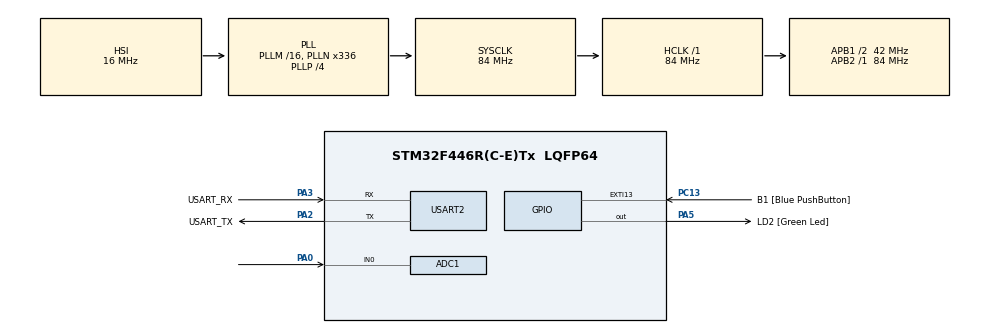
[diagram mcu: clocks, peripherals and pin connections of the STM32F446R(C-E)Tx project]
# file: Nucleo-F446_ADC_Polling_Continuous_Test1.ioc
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ADC1.Channel-0\#ChannelRegularConversion=ADC_CHANNEL_0
ADC1.ContinuousConvMode=ENABLE
ADC1.EOCSelection=ADC_EOC_SEQ_CONV
ADC1.NbrOfConversionFlag=1
ADC1.Rank-0\#ChannelRegularConversion=1
ADC1.SamplingTime-0\#ChannelRegularConversion=ADC_SAMPLETIME_3CYCLES
ADC1.master=1
Mcu.Family=STM32F4
Mcu.Name=STM32F446R(C-E)Tx
Mcu.Package=LQFP64
NVIC.PriorityGroup=NVIC_PRIORITYGROUP_0
PA0-WKUP.Signal=ADCx_IN0
PA13.GPIO_Label=TMS
PA13.Mode=Serial_Wire
PA13.Signal=SYS_JTMS-SWDIO
PA14.GPIO_Label=TCK
PA14.Mode=Serial_Wire
PA14.Signal=SYS_JTCK-SWCLK
PA2.GPIO_Label=USART_TX
PA2.Mode=Asynchronous
PA2.Signal=USART2_TX
PA3.GPIO_Label=USART_RX
PA3.Mode=Asynchronous
PA3.Signal=USART2_RX
PA5.GPIO_Label=LD2 [Green Led]
PA5.Signal=GPIO_Output
PB3.GPIO_Label=SWO
PB3.Signal=SYS_JTDO-SWO
PC13.GPIO_Label=B1 [Blue PushButton]
PC13.GPIO_ModeDefaultEXTI=GPIO_MODE_IT_FALLING
PC13.Signal=GPXTI13
PC14-OSC32_IN.Mode=LSE-External-Oscillator
PC14-OSC32_IN.Signal=RCC_OSC32_IN
PC15-OSC32_OUT.Mode=LSE-External-Oscillator
PC15-OSC32_OUT.Signal=RCC_OSC32_OUT
PH0-OSC_IN.Mode=HSE-External-Oscillator
PH0-OSC_IN.Signal=RCC_OSC_IN
PH1-OSC_OUT.Mode=HSE-External-Oscillator
PH1-OSC_OUT.Signal=RCC_OSC_OUT
ProjectManager.HeapSize=0x200
ProjectManager.StackSize=0x400
ProjectManager.TargetToolchain=SW4STM32
RCC.48MHZClocksFreq_Value=84000000
RCC.AHBFreq_Value=84000000
RCC.APB1CLKDivider=RCC_HCLK_DIV2
RCC.APB1Freq_Value=42000000
RCC.APB1TimFreq_Value=84000000
RCC.APB2Freq_Value=84000000
RCC.APB2TimFreq_Value=84000000
RCC.CortexFreq_Value=84000000
RCC.FLatency-AdvancedSettings=FLASH_LATENCY_2
RCC.HCLKFreq_Value=84000000
RCC.HSE_VALUE=8000000
RCC.HSI_VALUE=16000000
RCC.PLLN=336
RCC.PLLP=RCC_PLLP_DIV4
RCC.SYSCLKFreq_VALUE=84000000
RCC.SYSCLKSource=RCC_SYSCLKSOURCE_PLLCLK
RCC.USBFreq_Value=168000000
RCC.VCOOutputFreq_Value=336000000
SH.ADCx_IN0.0=ADC1_IN0,IN0
USART2.VirtualMode=VM_ASYNC
board=NUCLEO-F446RE

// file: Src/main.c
/* USER CODE BEGIN Header */
/**
  ******************************************************************************
  * @file           : main.c
  * @brief          : Main program body
  ******************************************************************************
  * @attention
  *
  * <h2><center>&copy; Copyright (c) 2019 STMicroelectronics.
  * All rights reserved.</center></h2>
  *
  * This software component is licensed by ST under BSD 3-Clause license,
  * the "License"; You may not use this file except in compliance with the
  * License. You may obtain a copy of the License at:
  *                        opensource.org/licenses/BSD-3-Clause
  *
  ******************************************************************************
  */
/* USER CODE END Header */

#include "main.h"

/* USER CODE BEGIN Includes */
#include <stdio.h>
/* USER CODE END Includes */

ADC_HandleTypeDef hadc1;

UART_HandleTypeDef huart2;

/* USER CODE BEGIN PV */
volatile uint16_t uhADCxConvertedValue = 0;
/* USER CODE END PV */

void SystemClock_Config(void);
static void MX_GPIO_Init(void);
static void MX_ADC1_Init(void);
static void MX_USART2_UART_Init(void);

/* USER CODE BEGIN 0 */
#ifdef __GNUC__
#define PUTCHAR_PROTOTYPE int __io_putchar(int ch)
#else
#define PUTCHAR_PROTOTYPE int fputc(int ch, FILE *f)
#endif
PUTCHAR_PROTOTYPE
{
 HAL_UART_Transmit(&huart2, (uint8_t *)&ch, 1, 0xFFFF);
 return ch;
}
/* USER CODE END 0 */

int main(void)
{

  /* MCU Configuration--------------------------------------------------------*/

  /* Reset of all peripherals, Initializes the Flash interface and the Systick. */
  HAL_Init();

  /* Configure the system clock */
  SystemClock_Config();

  /* Initialize all configured peripherals */
  MX_GPIO_Init();
  MX_ADC1_Init();
  MX_USART2_UART_Init();
  /* USER CODE BEGIN 2 */
  /*##-3- Start the conversion process #######################################*/
  if (HAL_ADC_Start(&hadc1) != HAL_OK)
  {
    /* Start Conversation Error */
    Error_Handler();
  }
  /* USER CODE END 2 */

  /* Infinite loop */
  while (1)
  {

    /* USER CODE BEGIN 3 */
	  /*##-4- Wait for the end of conversion #####################################*/
	  /*  Before starting a new conversion, you need to check the current state of
	       the peripheral; if itТs busy you need to wait for the end of current
	       conversion before starting a new one.
	       For simplicity reasons, this example is just waiting till the end of the
	       conversion, but application may perform other tasks while conversion
	       operation is ongoing. */
	  if (HAL_ADC_PollForConversion(&hadc1, 10) != HAL_OK)
	  {
	    /* End Of Conversion flag not set on time */
	    Error_Handler();
	  }

	/* Check if the continuous conversion of regular channel is finished */
	  if ((HAL_ADC_GetState(&hadc1) & HAL_ADC_STATE_EOC_REG) == HAL_ADC_STATE_EOC_REG)
	  {
	    /*##-5- Get the converted value of regular channel  ########################*/
	    uhADCxConvertedValue = HAL_ADC_GetValue(&hadc1);
	  }
	  printf("ADC Value: %d\r\n", uhADCxConvertedValue);
	  HAL_Delay(100);
  }
  /* USER CODE END 3 */
}

void SystemClock_Config(void)
{
  RCC_OscInitTypeDef RCC_OscInitStruct = {0};
  RCC_ClkInitTypeDef RCC_ClkInitStruct = {0};

  /** Configure the main internal regulator output voltage
  */
  __HAL_RCC_PWR_CLK_ENABLE();
  __HAL_PWR_VOLTAGESCALING_CONFIG(PWR_REGULATOR_VOLTAGE_SCALE3);
  /** Initializes the CPU, AHB and APB busses clocks
  */
  RCC_OscInitStruct.OscillatorType = RCC_OSCILLATORTYPE_HSI;
  RCC_OscInitStruct.HSIState = RCC_HSI_ON;
  RCC_OscInitStruct.HSICalibrationValue = RCC_HSICALIBRATION_DEFAULT;
  RCC_OscInitStruct.PLL.PLLState = RCC_PLL_ON;
  RCC_OscInitStruct.PLL.PLLSource = RCC_PLLSOURCE_HSI;
  RCC_OscInitStruct.PLL.PLLM = 16;
  RCC_OscInitStruct.PLL.PLLN = 336;
  RCC_OscInitStruct.PLL.PLLP = RCC_PLLP_DIV4;
  RCC_OscInitStruct.PLL.PLLQ = 2;
  RCC_OscInitStruct.PLL.PLLR = 2;
  if (HAL_RCC_OscConfig(&RCC_OscInitStruct) != HAL_OK)
  {
    Error_Handler();
  }
  /** Initializes the CPU, AHB and APB busses clocks
  */
  RCC_ClkInitStruct.ClockType = RCC_CLOCKTYPE_HCLK|RCC_CLOCKTYPE_SYSCLK
                              |RCC_CLOCKTYPE_PCLK1|RCC_CLOCKTYPE_PCLK2;
  RCC_ClkInitStruct.SYSCLKSource = RCC_SYSCLKSOURCE_PLLCLK;
  RCC_ClkInitStruct.AHBCLKDivider = RCC_SYSCLK_DIV1;
  RCC_ClkInitStruct.APB1CLKDivider = RCC_HCLK_DIV2;
  RCC_ClkInitStruct.APB2CLKDivider = RCC_HCLK_DIV1;

  if (HAL_RCC_ClockConfig(&RCC_ClkInitStruct, FLASH_LATENCY_2) != HAL_OK)
  {
    Error_Handler();
  }
}

static void MX_ADC1_Init(void)
{

  ADC_ChannelConfTypeDef sConfig = {0};

  /** Configure the global features of the ADC (Clock, Resolution, Data Alignment and number of conversion)
  */
  hadc1.Instance = ADC1;
  hadc1.Init.ClockPrescaler = ADC_CLOCK_SYNC_PCLK_DIV4;
  hadc1.Init.Resolution = ADC_RESOLUTION_12B;
  hadc1.Init.ScanConvMode = DISABLE;
  hadc1.Init.ContinuousConvMode = ENABLE;
  hadc1.Init.DiscontinuousConvMode = DISABLE;
  hadc1.Init.ExternalTrigConvEdge = ADC_EXTERNALTRIGCONVEDGE_NONE;
  hadc1.Init.ExternalTrigConv = ADC_SOFTWARE_START;
  hadc1.Init.DataAlign = ADC_DATAALIGN_RIGHT;
  hadc1.Init.NbrOfConversion = 1;
  hadc1.Init.DMAContinuousRequests = DISABLE;
  hadc1.Init.EOCSelection = ADC_EOC_SEQ_CONV;
  if (HAL_ADC_Init(&hadc1) != HAL_OK)
  {
    Error_Handler();
  }
  /** Configure for the selected ADC regular channel its corresponding rank in the sequencer and its sample time.
  */
  sConfig.Channel = ADC_CHANNEL_0;
  sConfig.Rank = 1;
  sConfig.SamplingTime = ADC_SAMPLETIME_3CYCLES;
  if (HAL_ADC_ConfigChannel(&hadc1, &sConfig) != HAL_OK)
  {
    Error_Handler();
  }

}

static void MX_USART2_UART_Init(void)
{

  huart2.Instance = USART2;
  huart2.Init.BaudRate = 115200;
  huart2.Init.WordLength = UART_WORDLENGTH_8B;
  huart2.Init.StopBits = UART_STOPBITS_1;
  huart2.Init.Parity = UART_PARITY_NONE;
  huart2.Init.Mode = UART_MODE_TX_RX;
  huart2.Init.HwFlowCtl = UART_HWCONTROL_NONE;
  huart2.Init.OverSampling = UART_OVERSAMPLING_16;
  if (HAL_UART_Init(&huart2) != HAL_OK)
  {
    Error_Handler();
  }

}

static void MX_GPIO_Init(void)
{
  GPIO_InitTypeDef GPIO_InitStruct = {0};

  /* GPIO Ports Clock Enable */
  __HAL_RCC_GPIOC_CLK_ENABLE();
  __HAL_RCC_GPIOH_CLK_ENABLE();
  __HAL_RCC_GPIOA_CLK_ENABLE();
  __HAL_RCC_GPIOB_CLK_ENABLE();

  /*Configure GPIO pin Output Level */
  HAL_GPIO_WritePin(LD2_GPIO_Port, LD2_Pin, GPIO_PIN_RESET);

  /*Configure GPIO pin : B1_Pin */
  GPIO_InitStruct.Pin = B1_Pin;
  GPIO_InitStruct.Mode = GPIO_MODE_IT_FALLING;
  GPIO_InitStruct.Pull = GPIO_NOPULL;
  HAL_GPIO_Init(B1_GPIO_Port, &GPIO_InitStruct);

  /*Configure GPIO pin : LD2_Pin */
  GPIO_InitStruct.Pin = LD2_Pin;
  GPIO_InitStruct.Mode = GPIO_MODE_OUTPUT_PP;
  GPIO_InitStruct.Pull = GPIO_NOPULL;
  GPIO_InitStruct.Speed = GPIO_SPEED_FREQ_LOW;
  HAL_GPIO_Init(LD2_GPIO_Port, &GPIO_InitStruct);

}

void Error_Handler(void)
{
}

/************************ (C) COPYRIGHT STMicroelectronics *****END OF FILE****/
